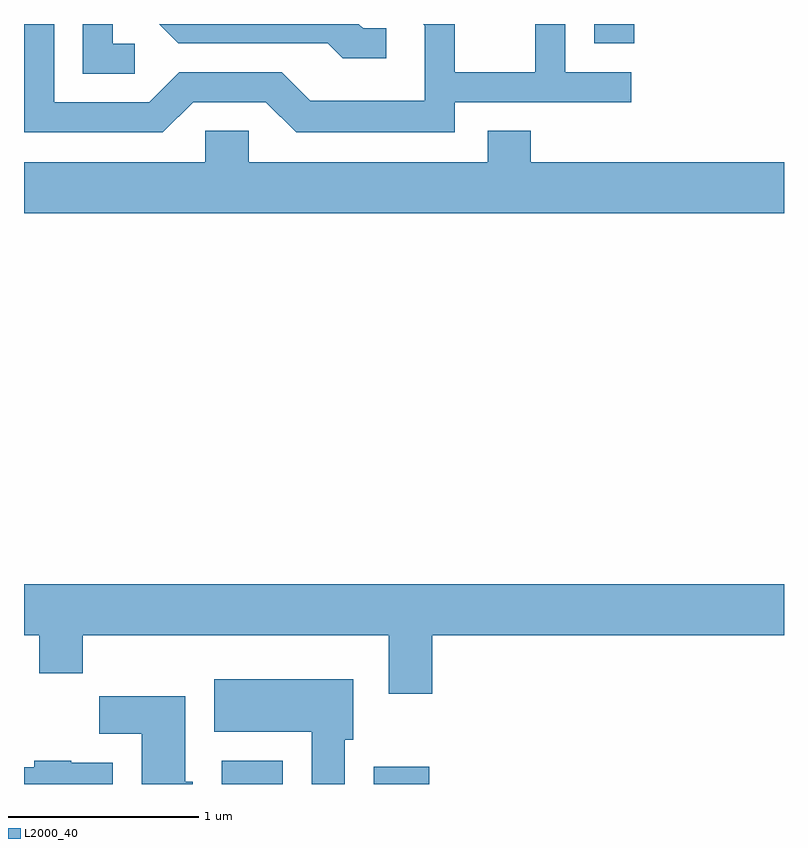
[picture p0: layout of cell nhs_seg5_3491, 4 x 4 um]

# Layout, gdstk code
import gdstk
lib = gdstk.Library(unit=1e-6, precision=1e-09)
def R(c, l, rs):  # rectangles x0, y0, x1, y1
    for r in rs: c.add(gdstk.rectangle(r[:2], r[2:], *l))
def P(c, l, *ps):  # polygons
    for p in ps: c.add(gdstk.Polygon(p, *l))
L2000_40 = (2000, 40)

nhs_seg5_3491 = lib.new_cell('nhs_seg5_3491')
R(nhs_seg5_3491, L2000_40, [(290.651,1396.072,290.974,1396.194), (291.451,1396.072,291.744,1396.164), (292.611,1399.971,292.824,1400.072)])
P(nhs_seg5_3491, L2000_40, [(290.502,1399.661),(290.884,1399.661),(291.044,1399.501),(291.879,1399.501),(291.879,1399.661),(292.808,1399.661),(292.808,1399.819),(292.459,1399.819),(292.459,1400.072),(292.301,1400.072),(292.301,1399.819),(291.879,1399.819),(291.879,1400.072),(291.713,1400.072),(291.721,1400.064),(291.721,1399.669),(291.117,1399.669),(290.967,1399.819),(290.429,1399.819),(290.269,1399.659),(289.769,1399.659),(289.769,1400.072),(289.611,1400.072),(289.611,1399.501),(290.342,1399.501)],
  [(291.518,1400.049),(291.397,1400.049),(291.374,1400.072),(290.323,1400.072),(290.424,1399.971),(291.209,1399.971),(291.289,1399.891),(291.518,1399.891)],
  [(290.193,1399.969),(290.079,1399.969),(290.079,1400.072),(289.921,1400.072),(289.921,1399.811),(290.193,1399.811)],
  [(293.611,1399.344),(292.279,1399.344),(292.279,1399.509),(292.051,1399.509),(292.051,1399.344),(290.794,1399.344),(290.794,1399.509),(290.566,1399.509),(290.566,1399.344),(289.611,1399.344),(289.611,1399.076),(293.611,1399.076)],
  [(291.759,1396.856),(293.611,1396.856),(293.611,1397.124),(289.611,1397.124),(289.611,1396.856),(289.691,1396.856),(289.691,1396.656),(289.919,1396.656),(289.919,1396.856),(291.531,1396.856),(291.531,1396.546),(291.759,1396.546)],
  [(291.299,1396.306),(291.344,1396.306),(291.344,1396.624),(290.611,1396.624),(290.611,1396.346),(291.126,1396.346),(291.126,1396.072),(291.299,1396.072)],
  [(290.499,1396.084),(290.459,1396.084),(290.459,1396.534),(290.006,1396.534),(290.006,1396.336),(290.231,1396.336),(290.231,1396.072),(290.499,1396.072)],
  [(290.079,1396.184),(289.86,1396.184),(289.86,1396.194),(289.666,1396.194),(289.666,1396.159),(289.611,1396.159),(289.611,1396.072),(290.079,1396.072)])

lib.write_gds('nhs_seg5_3491.gds')
